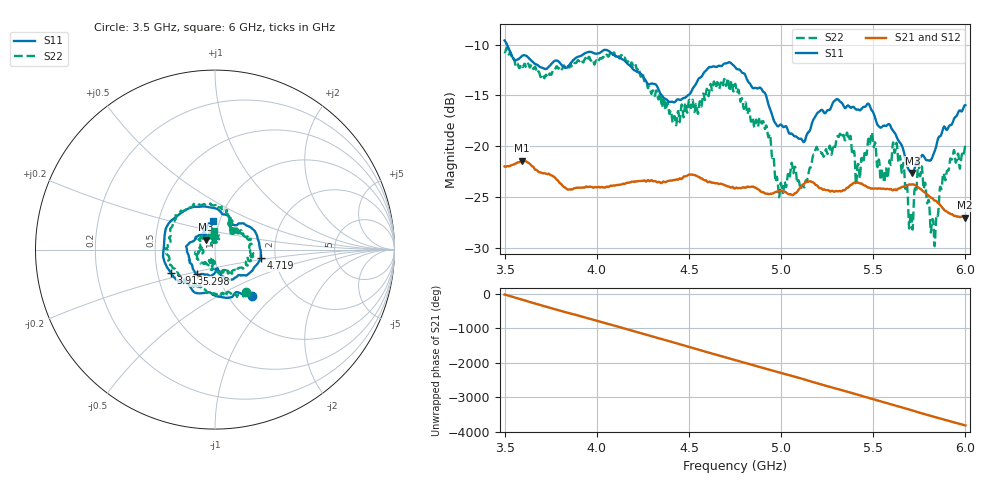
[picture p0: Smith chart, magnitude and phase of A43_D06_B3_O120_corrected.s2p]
! Created with skrf 1.9.0 (http://scikit-rf.org).
# Hz S RI R 50.0
!freq ReS11 ImS11 ReS21 ImS21 ReS12 ImS12 ReS22 ImS22
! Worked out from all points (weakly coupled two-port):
!   1601 points, 3.5 GHz to 6 GHz, reference 50 ohm
!   highest |S21| = -21.44 dB at 3.594 GHz (marker M1); lowest = -27.0 dB at 5.995 GHz (marker M2)
!   lowest |S11| = -22.6 dB at 5.713 GHz (marker M3), VSWR 1.16, Z = 45.1 + j5.04 ohm
!   |S11| at or under -10 dB: 3.513 GHz to end of sweep
!   |S22| runs from -29.9 to -10.3 dB; largest |S21 - S12| = 0.00096
!   S11 on the Smith chart (normalised r, x): 3.5 GHz: 1.28, -0.74; 3.913 GHz: 0.59, -0.17; 4.719 GHz: 1.67, -0.16; 5.298 GHz: 0.79, -0.22; 6 GHz: 0.93, +0.30
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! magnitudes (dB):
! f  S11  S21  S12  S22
! 3.5 GHz  -9.6  -22.0  -22.0  -10.7
! 3.594 GHz  -11.1  -21.4  -21.4  -12.1
! 3.913 GHz  -11.1  -24.1  -24.0  -11.5
! 3.917 GHz  -11.1  -24.1  -24.1  -11.4
! 4.142 GHz  -11.5  -23.7  -23.7  -11.3
! 4.334 GHz  -14.4  -23.5  -23.5  -15.4
! 4.422 GHz  -15.7  -23.3  -23.3  -17.0
! 4.719 GHz  -11.7  -24.0  -24.0  -14.4
! 4.75 GHz  -12.2  -24.2  -24.1  -13.9
! 4.93 GHz  -15.8  -24.7  -24.6  -19.0
! 4.998 GHz  -17.9  -24.4  -24.4  -23.6
! 5.167 GHz  -17.8  -23.5  -23.5  -21.5
! 5.298 GHz  -15.4  -24.4  -24.4  -19.5
! 5.486 GHz  -16.3  -24.2  -24.1  -19.3
! 5.584 GHz  -17.8  -24.2  -24.2  -21.9
! 5.619 GHz  -18.8  -24.3  -24.3  -20.6
! 5.713 GHz  -22.6  -23.8  -23.7  -28.2
! 5.753 GHz  -21.2  -24.2  -24.1  -23.0
! 5.827 GHz  -20.8  -25.2  -25.2  -27.7
! 5.873 GHz  -18.6  -26.0  -25.9  -23.8
! 5.995 GHz  -16.0  -27.0  -26.9  -20.3
! 6 GHz  -16.0  -27.0  -26.9  -19.8
